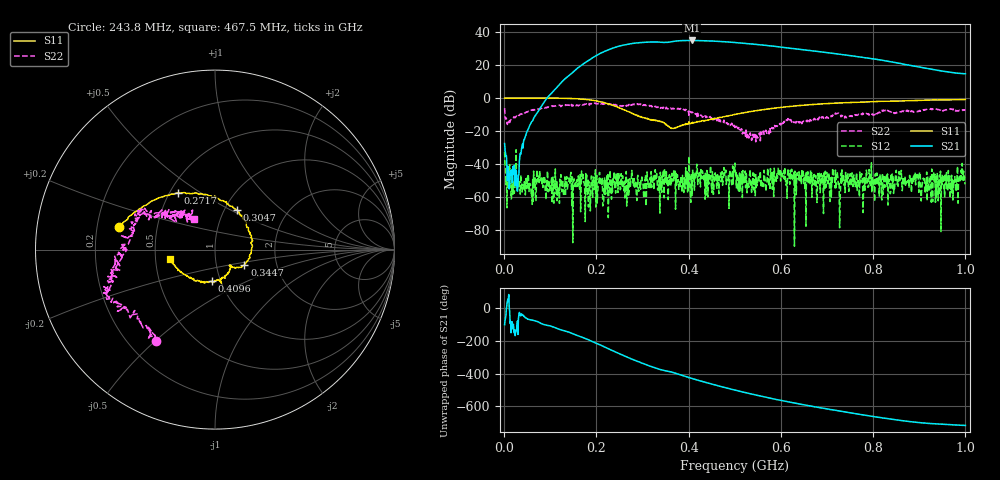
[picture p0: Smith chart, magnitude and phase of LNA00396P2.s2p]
! Created with skrf 1.9.0 (http://scikit-rf.org).
# Hz S RI R 50.0
!freq ReS11 ImS11 ReS21 ImS21 ReS12 ImS12 ReS22 ImS22
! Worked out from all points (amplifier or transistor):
!   1001 points, 1 MHz to 1 GHz, reference 50 ohm
!   highest |S21| = 34.9 dB at 406.6 MHz (marker M1)
!   |S21| within 3 dB of that: 255.7 MHz to 568 MHz (312.3 MHz wide, 75.8 % of centre)
!   unconditionally stable (mu >= 1): 144.8 MHz to 160.7 MHz; 229.8 MHz to 400.4 MHz; 401.1 MHz to end of sweep (the widest 3 of 44)
!   at 166.8 MHz: K = 2.36, MAG = 29.8 dB, |S12| = -53.0 dB
!   at 500.5 MHz: K = 1.10, MAG = 34.6 dB, |S12| = -39.4 dB
!   at 1 GHz: K = 5.47, MAG = 23.1 dB, |S12| = -52.1 dB
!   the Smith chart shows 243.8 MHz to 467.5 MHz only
!   S11 on the Smith chart (normalised r, x): 243.8 MHz: 0.30, +0.11; 271.7 MHz: 0.55, +0.41; 304.7 MHz: 1.14, +0.54; 344.7 MHz: 1.37, -0.24; 409.6 MHz: 0.91, -0.33; 467.5 MHz: 0.59, -0.06
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1000000  0.9929 0.00935  -0.00873 -0.0409  -0.0175 0.0157  0.3694 0.3306
1.08892e8  0.5358 -0.8399  -0.8286 -1.541  -5.02e-05 0.00266  0.4189 -0.3857
1.67833e8  -0.2076 -0.9075  -9.961 -0.5219  0.00262 0.00557  0.02 -0.6319
2.09791e8  -0.6473 -0.4058  -15.59 16.97  0.00156 -0.00235  -0.199 -0.6324
2.26774e8  -0.6526 -0.124  -10.23 27.42  -0.000669 -0.00142  -0.2875 -0.568
2.43757e8  -0.5334 0.1265  0.9668 35.54  -0.00239 0.00147  -0.3314 -0.5101
2.71729e8  -0.2053 0.3165  25.49 35.23  -0.00227 0.00278  -0.4945 -0.322
3.04696e8  0.1221 0.2217  46.55 14.54  -0.00251 0.00205  -0.6031 -0.1721
3.34666e8  0.2008 -0.0172  48.5 -10.28  -0.000129 0.00146  -0.5222 -0.0292
3.44656e8  0.1641 -0.0851  45.4 -16.66  -0.00105 0.00623  -0.4987 0.00139
3.73627e8  0.0863 -0.0955  41.33 -34.21  -0.00126 0.00196  -0.4261 0.178
4.06594e8  0.0014 -0.1746  19.76 -51.88  0.00111 0.00329  -0.3148 0.1958
4.09591e8  -0.0158 -0.1756  17.42 -52.54  0.00276 0.00229  -0.2959 0.1781
4.37563e8  -0.1398 -0.1592  -4.443 -53.93  -0.000739 0.000877  -0.1663 0.1953
4.67533e8  -0.2534 -0.0502  -23.62 -46.03  0.00459 0.0017  -0.1174 0.1693
5.005e8  -0.2959 0.125  -37.49 -30.42  0.0107 -0.00145  -0.0859 0.095
5.4046e8  -0.2381 0.3275  -41.81 -9.322  0.000805 0.00146  -0.0727 -0.00317
5.88412e8  -0.0465 0.4959  -34.89 10.75  0.00206 -0.00203  -0.1235 -0.0631
6.67333e8  0.3264 0.5451  -13.61 23.16  -0.000648 -0.000746  -0.2225 -0.0458
7.53247e8  0.6282 0.3825  3.541 18.66  0.00178 0.00341  -0.292 0.0191
8.34166e8  0.7861 0.1584  9.226 8.964  -0.000988 -0.00276  -0.3948 0.0536
1e9  0.8281 -0.3642  5.423 0.3595  -0.00247 -0.000129  -0.2187 0.3775
